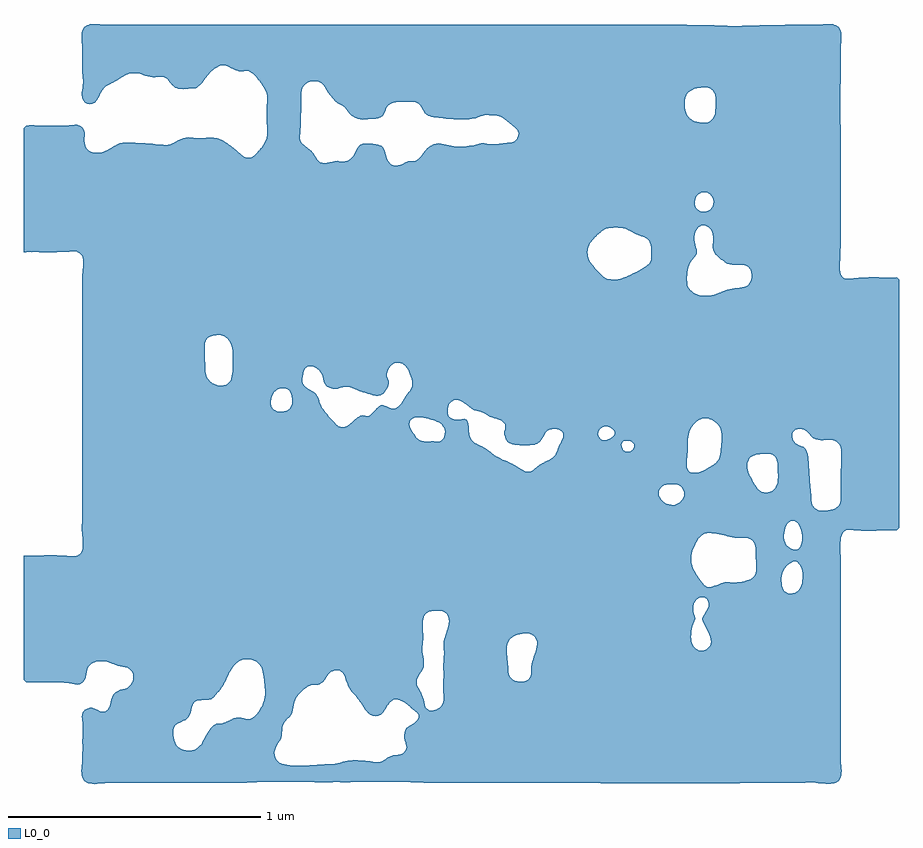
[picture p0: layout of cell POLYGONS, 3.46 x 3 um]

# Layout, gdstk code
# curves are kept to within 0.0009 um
import gdstk
lib = gdstk.Library(unit=1e-6, precision=1e-09)
def R(c, l, rs):  # rectangles x0, y0, x1, y1
    for r in rs: c.add(gdstk.rectangle(r[:2], r[2:], *l))
def P(c, l, *ps):  # polygons
    for p in ps: c.add(gdstk.Polygon(p, *l))
L0_0 = (0, 0)

polygons = lib.new_cell('POLYGONS')
R(polygons, L0_0, [(-0.38,-1.1,-0.218,-0.61), (0.31,-0.92,0.65,-0.61), (-1.4,-0.61,-1.1,-0.35), (-1.1,-0.61,-0.913,-0.35), (-0.913,-0.61,-0.737,-0.35), (-0.737,-0.61,-0.56,-0.35), (-0.56,-0.61,-0.38,-0.35), (-0.38,-0.61,-0.218,-0.35), (-0.218,-0.61,-0.08,-0.35), (-0.08,-0.61,0.11,-0.35), (0.11,-0.61,0.31,-0.35), (0.31,-0.61,0.65,-0.35), (-1.4,-0.35,-1.1,0.01), (-1.1,-0.35,-0.913,0.01), (-0.38,-0.35,-0.218,-0.08), (-1.499,0.01,-1.4,0.22), (-1.4,0.01,-1.1,0.22), (-1.4,0.22,-1.1,0.49), (-1.4,0.49,-1.1,0.6), (-1.1,0.49,-0.913,0.6), (-0.913,0.49,-0.737,0.6), (-0.737,0.49,-0.56,0.6), (-0.56,0.49,-0.38,0.6), (-0.38,0.49,-0.218,0.6), (-0.218,0.49,-0.08,0.6), (-0.08,0.49,0.11,0.6), (0.11,0.49,0.31,0.6), (-1.499,0.6,-1.4,0.8), (-1.4,0.6,-1.1,0.8), (-1.1,0.6,-0.913,0.8), (-0.913,0.6,-0.737,0.8), (-0.737,0.6,-0.56,0.8), (-0.56,0.6,-0.38,0.8), (-0.38,0.6,-0.218,0.8), (-0.218,0.6,-0.08,0.8), (-0.08,0.6,0.11,0.8), (0.11,0.6,0.31,0.8), (0.31,0.8,0.65,1.19)])
P(polygons, L0_0, [(-1.499,1.474),(-1.5,1.472),(-1.501,1.47),(-1.502,1.46),(-1.502,1.45),(-1.502,1.44),(-1.501,1.43),(-1.5,1.42),(-1.5,1.418),(-1.5,1.41),(-1.499,1.4),(-1.499,1.399)],
  [(-1.499,1.363),(-1.499,1.36),(-1.5,1.35),(-1.5,1.342),(-1.5,1.34),(-1.5,1.33),(-1.5,1.324),(-1.5,1.32),(-1.499,1.313)],
  [(-1.499,1.243),(-1.5,1.24),(-1.5,1.24),(-1.501,1.23),(-1.501,1.22),(-1.5,1.213),(-1.499,1.21)],
  [(-1.72,0.6),(-1.69,0.601),(-1.6,0.6),(-1.53,0.603),(-1.517,0.6),(-1.51,0.596),(-1.503,0.59),(-1.499,0.584),(-1.499,1.092),(-1.509,1.1),(-1.52,1.103),(-1.57,1.099),(-1.71,1.101),(-1.72,1.1),(-1.73,1.09),(-1.73,0.6)],
  [(-1.499,0.471),(-1.499,0.502),(-1.5,0.5),(-1.5,0.49),(-1.5,0.48)],
  [(-1.5,0.2),(-1.5,-0.03),(-1.499,-0.04),(-1.499,-0.054),(-1.499,0.261),(-1.499,0.23),(-1.5,0.22)],
  [(-1.499,-0.415),(-1.499,-0.42),(-1.5,-0.43),(-1.5,-0.47),(-1.501,-0.48),(-1.501,-0.5),(-1.5,-0.511),(-1.499,-0.518)],
  [(-1.72,-1.1),(-1.71,-1.101),(-1.6,-1.1),(-1.56,-1.102),(-1.53,-1.109),(-1.52,-1.11),(-1.51,-1.108),(-1.499,-1.102),(-1.499,-0.58),(-1.505,-0.59),(-1.51,-0.595),(-1.52,-0.6),(-1.53,-0.602),(-1.6,-0.599),(-1.73,-0.6),(-1.73,-1.09)],
  [(-1.499,-1.227),(-1.5,-1.229),(-1.5,-1.23),(-1.501,-1.24),(-1.5,-1.244),(-1.499,-1.249)],
  [(-1.499,-1.404),(-1.5,-1.41),(-1.5,-1.417),(-1.5,-1.42),(-1.501,-1.43),(-1.502,-1.44),(-1.503,-1.45),(-1.502,-1.46),(-1.501,-1.47),(-1.5,-1.474),(-1.499,-1.476)],
  [(-1.46,1.186),(-1.45,1.191),(-1.44,1.202),(-1.421,1.24),(-1.41,1.252),(-1.4,1.259),(-1.4,1.5),(-1.42,1.5),(-1.44,1.502),(-1.47,1.501),(-1.49,1.491),(-1.497,1.48),(-1.499,1.474),(-1.499,1.31),(-1.496,1.28),(-1.499,1.243),(-1.499,1.21),(-1.495,1.2),(-1.487,1.19),(-1.48,1.186),(-1.47,1.184)],
  [(-1.4,1.003),(-1.42,0.994),(-1.43,0.992),(-1.45,0.992),(-1.46,0.994),(-1.47,0.998),(-1.48,1.006),(-1.488,1.02),(-1.491,1.04),(-1.49,1.071),(-1.492,1.08),(-1.499,1.092),(-1.499,0.8),(-1.4,0.8)],
  [(-1.4,0.6),(-1.499,0.6),(-1.499,0.584),(-1.495,0.56),(-1.499,0.51),(-1.499,0.49),(-1.4,0.49)],
  [(-1.4,0.49),(-1.499,0.49),(-1.499,0.471),(-1.499,0.47),(-1.499,0.46),(-1.499,0.45),(-1.499,0.44),(-1.499,0.43),(-1.499,0.42),(-1.499,0.41),(-1.499,0.4),(-1.499,0.39),(-1.499,0.38),(-1.499,0.37),(-1.499,0.36),(-1.499,0.34),(-1.499,0.33),(-1.499,0.32),(-1.499,0.31),(-1.499,0.3),(-1.499,0.29),(-1.499,0.28),(-1.499,0.27),(-1.499,0.261),(-1.499,0.22),(-1.4,0.22)],
  [(-1.499,-0.38),(-1.499,-0.52),(-1.497,-0.55),(-1.497,-0.57),(-1.499,-0.58),(-1.499,-0.61),(-1.4,-0.61),(-1.4,0.01),(-1.499,0.01)],
  [(-1.497,-1.1),(-1.49,-1.09),(-1.486,-1.08),(-1.483,-1.07),(-1.48,-1.05),(-1.47,-1.033),(-1.46,-1.026),(-1.45,-1.021),(-1.44,-1.018),(-1.42,-1.017),(-1.4,-1.02),(-1.4,-0.61),(-1.499,-0.61),(-1.499,-1.102)],
  [(-1.498,-1.32),(-1.499,-1.33),(-1.498,-1.35),(-1.499,-1.476),(-1.498,-1.48),(-1.49,-1.492),(-1.48,-1.498),(-1.47,-1.501),(-1.45,-1.503),(-1.4,-1.499),(-1.4,-1.212),(-1.41,-1.217),(-1.42,-1.218),(-1.43,-1.215),(-1.45,-1.205),(-1.46,-1.202),(-1.47,-1.202),(-1.48,-1.205),(-1.49,-1.211),(-1.497,-1.22),(-1.499,-1.227),(-1.499,-1.25),(-1.497,-1.27)],
  [(-1.39,1.264),(-1.33,1.3),(-1.31,1.307),(-1.29,1.308),(-1.27,1.305),(-1.26,1.301),(-1.23,1.293),(-1.22,1.292),(-1.18,1.293),(-1.17,1.29),(-1.159,1.28),(-1.143,1.26),(-1.131,1.25),(-1.12,1.246),(-1.1,1.244),(-1.1,1.499),(-1.21,1.499),(-1.22,1.5),(-1.39,1.499),(-1.4,1.5),(-1.4,1.259)],
  [(-1.1,1.05),(-1.11,1.047),(-1.142,1.03),(-1.16,1.024),(-1.17,1.023),(-1.19,1.024),(-1.23,1.029),(-1.27,1.03),(-1.3,1.033),(-1.34,1.033),(-1.35,1.031),(-1.36,1.027),(-1.4,1.003),(-1.4,0.8),(-1.1,0.8)],
  [(-1.14,-1.294),(-1.137,-1.28),(-1.131,-1.27),(-1.12,-1.262),(-1.1,-1.253),(-1.1,-0.61),(-1.4,-0.61),(-1.4,-1.02),(-1.36,-1.035),(-1.32,-1.044),(-1.311,-1.05),(-1.302,-1.06),(-1.298,-1.07),(-1.297,-1.08),(-1.298,-1.09),(-1.301,-1.1),(-1.31,-1.113),(-1.32,-1.122),(-1.33,-1.126),(-1.35,-1.131),(-1.367,-1.14),(-1.376,-1.15),(-1.381,-1.16),(-1.388,-1.19),(-1.392,-1.2),(-1.4,-1.212),(-1.4,-1.3),(-1.14,-1.3)],
  [(-1.1,-1.368),(-1.116,-1.36),(-1.127,-1.35),(-1.136,-1.33),(-1.14,-1.31),(-1.14,-1.3),(-1.4,-1.3),(-1.4,-1.38),(-1.1,-1.38)],
  [(-1.39,-1.499),(-1.38,-1.498),(-1.1,-1.499),(-1.1,-1.38),(-1.4,-1.38),(-1.4,-1.499)],
  [(-1.09,1.245),(-1.05,1.248),(-1.047,1.25),(-1.03,1.265),(-1.012,1.29),(-0.995,1.31),(-0.971,1.33),(-0.95,1.338),(-0.94,1.338),(-0.93,1.336),(-0.913,1.33),(-0.913,1.499),(-1.1,1.499),(-1.1,1.244)],
  [(-0.913,1.02),(-0.95,1.045),(-0.96,1.049),(-0.97,1.051),(-0.99,1.053),(-1.02,1.051),(-1.05,1.051),(-1.08,1.054),(-1.1,1.05),(-1.1,0.8),(-0.913,0.8)],
  [(-1.016,0.23),(-1.015,0.24),(-1.012,0.25),(-1.005,0.26),(-1,0.264),(-0.98,0.271),(-0.96,0.273),(-0.95,0.272),(-0.94,0.269),(-0.927,0.26),(-0.92,0.252),(-0.913,0.24),(-0.913,0.49),(-1.1,0.49),(-1.1,0.22),(-1.016,0.22)],
  [(-0.924,0.08),(-0.93,0.076),(-0.94,0.073),(-0.95,0.071),(-0.96,0.072),(-0.983,0.08),(-0.996,0.09),(-1.004,0.1),(-1.009,0.11),(-1.013,0.13),(-1.016,0.22),(-1.1,0.22),(-1.1,0.01),(-0.913,0.01),(-0.913,0.091)],
  [(-1.093,-1.25),(-1.08,-1.24),(-1.074,-1.23),(-1.07,-1.22),(-1.066,-1.2),(-1.06,-1.185),(-1.056,-1.18),(-1.04,-1.172),(-1.01,-1.17),(-0.99,-1.167),(-0.98,-1.16),(-0.95,-1.125),(-0.941,-1.11),(-0.913,-1.055),(-0.913,-0.61),(-1.1,-0.61),(-1.1,-1.253)],
  [(-0.913,-1.249),(-0.94,-1.261),(-0.95,-1.264),(-0.97,-1.265),(-0.98,-1.271),(-0.997,-1.29),(-1.016,-1.32),(-1.03,-1.347),(-1.042,-1.36),(-1.06,-1.369),(-1.07,-1.371),(-1.091,-1.37),(-1.1,-1.368),(-1.1,-1.38),(-0.913,-1.38)],
  [(-1.09,-1.499),(-0.913,-1.498),(-0.913,-1.38),(-1.1,-1.38),(-1.1,-1.499)],
  [(-0.779,1.03),(-0.79,1.013),(-0.81,0.99),(-0.83,0.976),(-0.84,0.973),(-0.85,0.973),(-0.86,0.978),(-0.913,1.02),(-0.913,0.8),(-0.737,0.8),(-0.737,1.499),(-0.913,1.499),(-0.913,1.33),(-0.9,1.323),(-0.88,1.316),(-0.87,1.315),(-0.85,1.317),(-0.84,1.315),(-0.831,1.31),(-0.82,1.302),(-0.81,1.292),(-0.8,1.279),(-0.78,1.25),(-0.771,1.23),(-0.769,1.22),(-0.771,1.14),(-0.768,1.08),(-0.769,1.06),(-0.771,1.05),(-0.774,1.04)],
  [(-0.737,0.49),(-0.913,0.49),(-0.913,0.24),(-0.909,0.23),(-0.905,0.21),(-0.904,0.19),(-0.905,0.13),(-0.91,0.099),(-0.913,0.09),(-0.737,0.09)],
  [(-0.753,0.02),(-0.75,0.029),(-0.75,0.03),(-0.745,0.04),(-0.74,0.047),(-0.737,0.05),(-0.737,0.09),(-0.913,0.09),(-0.913,0.01),(-0.754,0.01)],
  [(-0.737,-0.026),(-0.74,-0.025),(-0.746,-0.02),(-0.75,-0.014),(-0.752,-0.01),(-0.754,0),(-0.754,0.01),(-0.913,0.01),(-0.913,-0.35),(-0.737,-0.35)],
  [(-0.739,-1.37),(-0.737,-1.367),(-0.737,-0.61),(-0.913,-0.61),(-0.913,-1.055),(-0.911,-1.05),(-0.895,-1.03),(-0.883,-1.02),(-0.87,-1.013),(-0.86,-1.01),(-0.84,-1.01),(-0.82,-1.015),(-0.81,-1.02),(-0.799,-1.03),(-0.787,-1.05),(-0.777,-1.11),(-0.776,-1.13),(-0.776,-1.15),(-0.78,-1.171),(-0.786,-1.19),(-0.8,-1.215),(-0.81,-1.228),(-0.82,-1.237),(-0.83,-1.243),(-0.84,-1.246),(-0.85,-1.246),(-0.87,-1.241),(-0.88,-1.241),(-0.9,-1.244),(-0.913,-1.249),(-0.913,-1.38),(-0.74,-1.38)],
  [(-0.91,-1.498),(-0.85,-1.498),(-0.78,-1.494),(-0.737,-1.494),(-0.737,-1.397),(-0.74,-1.38),(-0.913,-1.38),(-0.913,-1.498)],
  [(-0.639,1.06),(-0.637,1.07),(-0.633,1.17),(-0.634,1.21),(-0.633,1.23),(-0.632,1.24),(-0.629,1.25),(-0.62,1.262),(-0.609,1.27),(-0.6,1.273),(-0.59,1.276),(-0.58,1.276),(-0.57,1.275),(-0.56,1.272),(-0.56,1.499),(-0.737,1.499),(-0.737,1.05),(-0.64,1.05)],
  [(-0.56,0.956),(-0.57,0.965),(-0.59,0.995),(-0.6,1.005),(-0.631,1.03),(-0.637,1.04),(-0.64,1.05),(-0.737,1.05),(-0.737,0.8),(-0.56,0.8)],
  [(-0.629,0.1),(-0.628,0.11),(-0.623,0.13),(-0.617,0.14),(-0.61,0.146),(-0.6,0.149),(-0.59,0.149),(-0.57,0.139),(-0.56,0.129),(-0.56,0.49),(-0.737,0.49),(-0.737,0.09),(-0.629,0.09)],
  [(-0.72,0.06),(-0.71,0.062),(-0.7,0.062),(-0.69,0.059),(-0.679,0.05),(-0.674,0.04),(-0.671,0.03),(-0.67,0),(-0.673,-0.01),(-0.68,-0.02),(-0.69,-0.027),(-0.71,-0.032),(-0.72,-0.032),(-0.73,-0.03),(-0.737,-0.026),(-0.737,-0.35),(-0.56,-0.35),(-0.56,0.003),(-0.565,0.02),(-0.57,0.03),(-0.58,0.043),(-0.608,0.06),(-0.62,0.07),(-0.627,0.08),(-0.629,0.09),(-0.737,0.09),(-0.737,0.05),(-0.73,0.056)],
  [(-0.735,-1.36),(-0.731,-1.35),(-0.717,-1.33),(-0.712,-1.32),(-0.706,-1.27),(-0.701,-1.26),(-0.693,-1.25),(-0.68,-1.238),(-0.674,-1.23),(-0.669,-1.22),(-0.66,-1.176),(-0.653,-1.16),(-0.646,-1.15),(-0.63,-1.134),(-0.61,-1.119),(-0.6,-1.114),(-0.59,-1.111),(-0.58,-1.11),(-0.57,-1.111),(-0.56,-1.108),(-0.56,-0.61),(-0.737,-0.61),(-0.737,-1.367)],
  [(-0.56,-1.426),(-0.63,-1.431),(-0.66,-1.431),(-0.68,-1.429),(-0.7,-1.425),(-0.72,-1.418),(-0.73,-1.41),(-0.737,-1.4),(-0.737,-1.397),(-0.737,-1.494),(-0.7,-1.495),(-0.62,-1.494),(-0.56,-1.496)],
  [(-0.38,1.125),(-0.38,1.5),(-0.56,1.499),(-0.56,1.272),(-0.545,1.26),(-0.519,1.22),(-0.5,1.196),(-0.49,1.188),(-0.47,1.179),(-0.46,1.17),(-0.444,1.15),(-0.433,1.14),(-0.42,1.132),(-0.4,1.125),(-0.39,1.124)],
  [(-0.38,1.029),(-0.39,1.029),(-0.4,1.024),(-0.412,1.01),(-0.43,0.978),(-0.44,0.967),(-0.45,0.962),(-0.455,0.96),(-0.47,0.958),(-0.49,0.961),(-0.502,0.96),(-0.54,0.952),(-0.55,0.953),(-0.56,0.956),(-0.56,0.8),(-0.38,0.8)],
  [(-0.38,0.49),(-0.56,0.49),(-0.56,0.129),(-0.553,0.12),(-0.548,0.11),(-0.541,0.08),(-0.53,0.067),(-0.52,0.063),(-0.51,0.06),(-0.5,0.059),(-0.49,0.06),(-0.46,0.068),(-0.44,0.066),(-0.39,0.045),(-0.38,0.043)],
  [(-0.457,-0.09),(-0.47,-0.093),(-0.48,-0.091),(-0.49,-0.086),(-0.497,-0.08),(-0.541,-0.03),(-0.55,-0.017),(-0.56,0.003),(-0.56,-0.35),(-0.38,-0.35),(-0.38,-0.047),(-0.39,-0.045),(-0.4,-0.047),(-0.419,-0.06),(-0.45,-0.087)],
  [(-0.45,-1.11),(-0.439,-1.13),(-0.41,-1.165),(-0.38,-1.209),(-0.38,-0.61),(-0.56,-0.61),(-0.56,-1.108),(-0.548,-1.1),(-0.527,-1.07),(-0.52,-1.063),(-0.5,-1.053),(-0.49,-1.053),(-0.48,-1.056),(-0.47,-1.064),(-0.465,-1.07),(-0.46,-1.08)],
  [(-0.45,-1.496),(-0.38,-1.495),(-0.38,-1.412),(-0.43,-1.41),(-0.46,-1.413),(-0.49,-1.421),(-0.51,-1.424),(-0.56,-1.426),(-0.56,-1.496),(-0.5,-1.495)],
  [(-0.37,1.126),(-0.35,1.127),(-0.33,1.13),(-0.32,1.134),(-0.311,1.14),(-0.305,1.15),(-0.297,1.17),(-0.29,1.18),(-0.28,1.187),(-0.27,1.191),(-0.26,1.193),(-0.23,1.195),(-0.218,1.194),(-0.218,1.499),(-0.38,1.5),(-0.38,1.125)],
  [(-0.218,0.956),(-0.23,0.95),(-0.25,0.943),(-0.26,0.941),(-0.27,0.943),(-0.28,0.948),(-0.29,0.96),(-0.295,0.97),(-0.304,1),(-0.31,1.012),(-0.318,1.02),(-0.33,1.025),(-0.34,1.027),(-0.38,1.029),(-0.38,0.8),(-0.218,0.8)],
  [(-0.32,0.034),(-0.31,0.041),(-0.302,0.05),(-0.29,0.07),(-0.288,0.08),(-0.288,0.09),(-0.295,0.11),(-0.295,0.12),(-0.288,0.14),(-0.28,0.15),(-0.266,0.16),(-0.25,0.163),(-0.24,0.161),(-0.23,0.157),(-0.218,0.145),(-0.218,0.49),(-0.38,0.49),(-0.38,0.043),(-0.34,0.033),(-0.33,0.032)],
  [(-0.355,-0.04),(-0.36,-0.044),(-0.37,-0.048),(-0.38,-0.047),(-0.38,-0.08),(-0.218,-0.08),(-0.218,0.034),(-0.24,-0.002),(-0.25,-0.012),(-0.26,-0.017),(-0.27,-0.019),(-0.28,-0.017),(-0.31,-0.006),(-0.32,-0.006),(-0.33,-0.013)],
  [(-0.33,-1.234),(-0.321,-1.23),(-0.31,-1.22),(-0.3,-1.206),(-0.291,-1.19),(-0.28,-1.177),(-0.27,-1.17),(-0.26,-1.168),(-0.25,-1.169),(-0.23,-1.178),(-0.218,-1.186),(-0.218,-1.1),(-0.38,-1.1),(-0.38,-1.21),(-0.37,-1.222),(-0.358,-1.23),(-0.34,-1.235)],
  [(-0.218,-1.283),(-0.22,-1.286),(-0.222,-1.29),(-0.225,-1.3),(-0.226,-1.31),(-0.226,-1.32),(-0.224,-1.33),(-0.221,-1.34),(-0.22,-1.343),(-0.218,-1.35)],
  [(-0.36,-1.494),(-0.23,-1.494),(-0.218,-1.495),(-0.218,-1.362),(-0.22,-1.37),(-0.23,-1.381),(-0.24,-1.385),(-0.27,-1.39),(-0.28,-1.393),(-0.29,-1.398),(-0.31,-1.412),(-0.32,-1.416),(-0.34,-1.417),(-0.38,-1.412),(-0.38,-1.495)],
  [(-0.164,1.18),(-0.145,1.15),(-0.132,1.14),(-0.12,1.135),(-0.11,1.133),(-0.08,1.131),(-0.08,1.5),(-0.218,1.499),(-0.218,1.194),(-0.19,1.195),(-0.18,1.193)],
  [(-0.08,1.029),(-0.09,1.03),(-0.1,1.029),(-0.11,1.026),(-0.12,1.021),(-0.135,1.01),(-0.16,0.979),(-0.17,0.969),(-0.18,0.962),(-0.19,0.96),(-0.21,0.959),(-0.218,0.956),(-0.218,0.8),(-0.08,0.8)],
  [(-0.08,0.49),(-0.218,0.49),(-0.218,0.145),(-0.208,0.13),(-0.2,0.11),(-0.194,0.09),(-0.195,0.07),(-0.199,0.06),(-0.205,0.05),(-0.218,0.034),(-0.218,-0.03),(-0.08,-0.03)],
  [(-0.204,-0.07),(-0.2,-0.063),(-0.19,-0.056),(-0.18,-0.053),(-0.16,-0.052),(-0.14,-0.056),(-0.11,-0.065),(-0.09,-0.073),(-0.08,-0.079),(-0.08,-0.03),(-0.218,-0.03),(-0.218,-0.08),(-0.206,-0.08)],
  [(-0.08,-0.146),(-0.09,-0.149),(-0.11,-0.148),(-0.14,-0.149),(-0.16,-0.146),(-0.17,-0.141),(-0.181,-0.13),(-0.2,-0.1),(-0.205,-0.09),(-0.206,-0.08),(-0.218,-0.08),(-0.218,-0.35),(-0.08,-0.35)],
  [(-0.176,-1.09),(-0.173,-1.08),(-0.168,-1.07),(-0.16,-1.06),(-0.15,-1.04),(-0.149,-1.02),(-0.155,-0.98),(-0.155,-0.96),(-0.152,-0.93),(-0.153,-0.86),(-0.152,-0.85),(-0.149,-0.84),(-0.14,-0.828),(-0.125,-0.82),(-0.11,-0.817),(-0.08,-0.818),(-0.08,-0.61),(-0.218,-0.61),(-0.218,-1.1),(-0.177,-1.1)],
  [(-0.08,-1.195),(-0.09,-1.204),(-0.1,-1.21),(-0.12,-1.213),(-0.132,-1.21),(-0.14,-1.204),(-0.143,-1.2),(-0.153,-1.16),(-0.16,-1.143),(-0.173,-1.12),(-0.176,-1.11),(-0.177,-1.1),(-0.218,-1.1),(-0.218,-1.186),(-0.19,-1.21),(-0.176,-1.22),(-0.169,-1.23),(-0.17,-1.241),(-0.174,-1.25),(-0.18,-1.257),(-0.19,-1.265),(-0.201,-1.27),(-0.216,-1.28),(-0.218,-1.283),(-0.217,-1.36),(-0.218,-1.362),(-0.218,-1.495),(-0.15,-1.498),(-0.08,-1.499)],
  [(0.11,1.5),(0.1,1.5),(0.09,1.5),(0.08,1.5),(0.07,1.5),(0.06,1.5),(0.05,1.5),(0.03,1.5),(0.02,1.5),(0.01,1.5),(0,1.5),(-0.01,1.5),(-0.02,1.5),(-0.03,1.5),(-0.04,1.5),(-0.05,1.5),(-0.06,1.5),(-0.07,1.5),(-0.08,1.5),(-0.08,1.19),(0.11,1.19)],
  [(0.02,1.126),(0.04,1.127),(0.056,1.13),(0.09,1.142),(0.1,1.143),(0.11,1.142),(0.11,1.19),(-0.08,1.19),(-0.08,1.131),(-0.05,1.127),(0,1.125)],
  [(0.11,1.027),(0.09,1.031),(0.08,1.031),(0.05,1.023),(0.02,1.018),(-0.02,1.017),(-0.041,1.02),(-0.08,1.029),(-0.08,0.8),(0.11,0.8)],
  [(0.11,0.49),(-0.08,0.49),(-0.08,-0.03),(-0.055,-0.03),(-0.055,-0.02),(-0.053,-0.01),(-0.048,0),(-0.037,0.01),(-0.03,0.014),(-0.02,0.016),(-0.01,0.015),(0,0.01),(0.029,-0.01),(0.041,-0.02),(0.05,-0.025),(0.07,-0.03),(0.09,-0.038),(0.11,-0.049)],
  [(0.11,-0.188),(0.085,-0.17),(0.05,-0.153),(0.04,-0.143),(0.033,-0.13),(0.029,-0.11),(0.027,-0.08),(0.024,-0.07),(0.02,-0.063),(0.01,-0.059),(-0.01,-0.062),(-0.03,-0.061),(-0.04,-0.057),(-0.05,-0.05),(-0.054,-0.04),(-0.055,-0.03),(-0.08,-0.03),(-0.08,-0.079),(-0.07,-0.093),(-0.067,-0.1),(-0.065,-0.11),(-0.066,-0.12),(-0.07,-0.135),(-0.08,-0.146),(-0.08,-0.35),(0.11,-0.35)],
  [(-0.069,-0.99),(-0.072,-1.03),(-0.071,-1.08),(-0.073,-1.11),(-0.073,-1.13),(-0.07,-1.17),(-0.072,-1.18),(-0.08,-1.195),(-0.08,-1.499),(0.11,-1.499),(0.11,-0.61),(-0.08,-0.61),(-0.08,-0.818),(-0.06,-0.828),(-0.053,-0.84),(-0.05,-0.85),(-0.049,-0.86),(-0.052,-0.88),(-0.07,-0.939),(-0.071,-0.95)],
  [(0.31,1.5),(0.3,1.5),(0.29,1.5),(0.28,1.5),(0.27,1.5),(0.26,1.5),(0.25,1.5),(0.24,1.5),(0.23,1.5),(0.22,1.5),(0.21,1.5),(0.2,1.5),(0.19,1.5),(0.18,1.5),(0.17,1.5),(0.166,1.5),(0.16,1.5),(0.14,1.5),(0.13,1.5),(0.12,1.5),(0.11,1.5),(0.11,1.19),(0.31,1.19)],
  [(0.31,1.19),(0.11,1.19),(0.11,1.142),(0.141,1.14),(0.16,1.134),(0.215,1.09),(0.223,1.08),(0.226,1.07),(0.225,1.06),(0.221,1.05),(0.212,1.04),(0.2,1.035),(0.13,1.026),(0.11,1.027),(0.11,0.8),(0.31,0.8)],
  [(0.26,-0.164),(0.29,-0.161),(0.3,-0.157),(0.31,-0.149),(0.31,0.49),(0.11,0.49),(0.11,-0.049),(0.15,-0.062),(0.16,-0.067),(0.17,-0.077),(0.172,-0.08),(0.173,-0.09),(0.17,-0.11),(0.17,-0.12),(0.175,-0.14),(0.181,-0.15),(0.19,-0.156),(0.2,-0.16),(0.24,-0.164)],
  [(0.31,-0.241),(0.28,-0.264),(0.27,-0.268),(0.26,-0.269),(0.25,-0.266),(0.238,-0.26),(0.2,-0.236),(0.162,-0.22),(0.14,-0.209),(0.11,-0.188),(0.11,-0.35),(0.31,-0.35)],
  [(0.295,-0.93),(0.299,-0.94),(0.3,-0.95),(0.296,-0.97),(0.28,-1.02),(0.276,-1.04),(0.275,-1.07),(0.27,-1.083),(0.26,-1.092),(0.25,-1.096),(0.24,-1.098),(0.23,-1.098),(0.22,-1.097),(0.21,-1.094),(0.2,-1.088),(0.19,-1.077),(0.187,-1.07),(0.185,-1.06),(0.178,-0.97),(0.11,-0.97),(0.11,-1.499),(0.31,-1.499),(0.31,-0.61),(0.11,-0.61),(0.11,-0.97),(0.178,-0.97),(0.18,-0.95),(0.19,-0.93),(0.203,-0.92),(0.23,-0.91),(0.25,-0.907),(0.27,-0.908),(0.28,-0.912),(0.29,-0.921)],
  [(0.65,1.499),(0.31,1.5),(0.31,1.19),(0.65,1.19)],
  [(0.499,0.61),(0.506,0.63),(0.512,0.64),(0.54,0.671),(0.56,0.687),(0.57,0.692),(0.58,0.695),(0.61,0.698),(0.63,0.696),(0.65,0.692),(0.65,0.8),(0.31,0.8),(0.31,0.6),(0.498,0.6)],
  [(0.65,0.501),(0.63,0.495),(0.61,0.491),(0.6,0.491),(0.58,0.493),(0.56,0.503),(0.53,0.533),(0.51,0.559),(0.504,0.57),(0.501,0.58),(0.498,0.6),(0.31,0.6),(0.31,0.49),(0.65,0.49)],
  [(0.65,-0.92),(0.31,-0.92),(0.31,-1.499),(0.65,-1.5)],
  [(0.38,-0.18),(0.372,-0.2),(0.364,-0.21),(0.349,-0.22),(0.33,-0.229),(0.31,-0.241),(0.31,-0.35),(0.65,-0.35),(0.65,-0.189),(0.637,-0.18),(0.633,-0.17),(0.632,-0.16),(0.637,-0.15),(0.65,-0.145),(0.65,0.49),(0.31,0.49),(0.31,-0.149),(0.336,-0.11),(0.34,-0.106),(0.35,-0.101),(0.36,-0.099),(0.38,-0.1),(0.39,-0.104),(0.398,-0.11),(0.403,-0.12),(0.539,-0.12),(0.54,-0.11),(0.547,-0.1),(0.56,-0.091),(0.57,-0.088),(0.58,-0.09),(0.598,-0.1),(0.605,-0.11),(0.606,-0.12),(0.599,-0.13),(0.581,-0.14),(0.57,-0.144),(0.56,-0.144),(0.55,-0.14),(0.542,-0.13),(0.539,-0.12),(0.403,-0.12),(0.402,-0.13),(0.399,-0.14)],
  [(0.883,1.2),(0.884,1.21),(0.89,1.224),(0.894,1.23),(0.908,1.24),(0.908,1.498),(0.89,1.499),(0.65,1.499),(0.65,1.19),(0.882,1.19)],
  [(0.908,1.125),(0.9,1.131),(0.89,1.145),(0.883,1.17),(0.882,1.19),(0.65,1.19),(0.65,0.8),(0.908,0.8)],
  [(0.891,0.5),(0.894,0.53),(0.9,0.549),(0.908,0.564),(0.908,0.8),(0.65,0.8),(0.65,0.692),(0.69,0.67),(0.72,0.66),(0.73,0.655),(0.74,0.647),(0.745,0.64),(0.75,0.62),(0.751,0.58),(0.75,0.569),(0.746,0.56),(0.737,0.55),(0.7,0.526),(0.65,0.501),(0.65,0.49),(0.891,0.49)],
  [(0.891,-0.23),(0.894,-0.19),(0.896,-0.13),(0.9,-0.113),(0.908,-0.094),(0.908,0.447),(0.904,0.45),(0.897,0.46),(0.893,0.47),(0.891,0.49),(0.65,0.49),(0.65,-0.145),(0.66,-0.145),(0.674,-0.15),(0.683,-0.16),(0.684,-0.17),(0.68,-0.179),(0.67,-0.187),(0.661,-0.19),(0.65,-0.189),(0.65,-0.24),(0.891,-0.24)],
  [(0.908,-0.272),(0.9,-0.268),(0.894,-0.26),(0.891,-0.25),(0.891,-0.24),(0.65,-0.24),(0.65,-0.35),(0.78,-0.35),(0.782,-0.34),(0.789,-0.33),(0.8,-0.322),(0.82,-0.317),(0.84,-0.317),(0.85,-0.318),(0.86,-0.322),(0.87,-0.329),(0.877,-0.34),(0.88,-0.35),(0.881,-0.36),(0.879,-0.37),(0.872,-0.38),(0.862,-0.39),(0.85,-0.397),(0.84,-0.4),(0.83,-0.399),(0.81,-0.394),(0.79,-0.38),(0.783,-0.37),(0.78,-0.361),(0.78,-0.35),(0.65,-0.35),(0.65,-0.61),(0.908,-0.61)],
  [(0.908,-0.91),(0.908,-0.907),(0.908,-0.61),(0.65,-0.61),(0.65,-0.92),(0.907,-0.92)],
  [(0.908,-0.93),(0.907,-0.92),(0.65,-0.92),(0.65,-1.5),(0.908,-1.5)],
  [(0.91,1.241),(0.92,1.245),(0.95,1.251),(0.96,1.252),(0.98,1.249),(0.98,1.497),(0.908,1.498),(0.908,1.24)],
  [(0.924,0.81),(0.93,0.822),(0.938,0.83),(0.95,0.836),(0.96,0.837),(0.97,0.836),(0.98,0.831),(0.98,1.116),(0.97,1.112),(0.95,1.111),(0.92,1.118),(0.908,1.125),(0.908,0.8),(0.922,0.8)],
  [(0.91,0.567),(0.929,0.59),(0.931,0.6),(0.93,0.61),(0.924,0.63),(0.921,0.65),(0.922,0.67),(0.925,0.68),(0.93,0.69),(0.94,0.701),(0.95,0.707),(0.96,0.707),(0.97,0.703),(0.98,0.696),(0.98,0.766),(0.97,0.761),(0.96,0.759),(0.949,0.76),(0.94,0.764),(0.93,0.772),(0.925,0.78),(0.922,0.79),(0.922,0.8),(0.908,0.8),(0.908,0.564)],
  [(0.91,-0.091),(0.918,-0.08),(0.928,-0.07),(0.94,-0.062),(0.95,-0.058),(0.96,-0.057),(0.97,-0.057),(0.98,-0.059),(0.98,0.427),(0.96,0.427),(0.939,0.43),(0.916,0.44),(0.908,0.447),(0.908,-0.094)],
  [(0.909,-0.6),(0.91,-0.59),(0.917,-0.57),(0.939,-0.53),(0.95,-0.519),(0.96,-0.513),(0.98,-0.51),(0.98,-0.251),(0.95,-0.267),(0.941,-0.27),(0.93,-0.273),(0.908,-0.272),(0.908,-0.61)],
  [(0.98,-0.726),(0.97,-0.724),(0.96,-0.718),(0.95,-0.706),(0.93,-0.677),(0.915,-0.65),(0.909,-0.63),(0.908,-0.61),(0.908,-0.907),(0.91,-0.89),(0.916,-0.87),(0.924,-0.85),(0.923,-0.84),(0.919,-0.83),(0.917,-0.82),(0.916,-0.8),(0.918,-0.79),(0.93,-0.773),(0.94,-0.767),(0.95,-0.764),(0.96,-0.764),(0.97,-0.77),(0.976,-0.78),(0.978,-0.79),(0.977,-0.8),(0.973,-0.81),(0.955,-0.84),(0.952,-0.85),(0.954,-0.86),(0.98,-0.912)],
  [(0.95,-1.5),(0.98,-1.5),(0.98,-0.961),(0.97,-0.97),(0.96,-0.975),(0.95,-0.977),(0.94,-0.976),(0.93,-0.971),(0.918,-0.96),(0.909,-0.94),(0.908,-0.93),(0.908,-1.5)],
  [(1.138,1.495),(1.06,1.494),(0.98,1.497),(0.98,1.249),(0.994,1.24),(1.001,1.23),(1.004,1.22),(1.006,1.2),(1.005,1.17),(1.001,1.14),(0.99,1.123),(0.98,1.116),(0.98,0.831),(0.99,0.82),(0.995,0.81),(0.997,0.8),(0.996,0.79),(0.993,0.78),(0.985,0.77),(0.98,0.766),(0.98,0.696),(0.99,0.682),(0.994,0.67),(0.995,0.61),(0.999,0.6),(1.006,0.59),(1.028,0.57),(1.041,0.56),(1.05,0.555),(1.06,0.552),(1.08,0.55),(1.11,0.55),(1.12,0.548),(1.13,0.544),(1.138,0.537)],
  [(1.029,-0.14),(1.029,-0.15),(1.022,-0.21),(1.017,-0.22),(1.009,-0.23),(1,-0.238),(0.98,-0.251),(0.98,-0.51),(1,-0.512),(1.04,-0.52),(1.07,-0.528),(1.1,-0.53),(1.11,-0.529),(1.13,-0.53),(1.138,-0.533),(1.138,-0.28),(1.134,-0.27),(1.129,-0.25),(1.129,-0.24),(1.131,-0.23),(1.138,-0.216),(1.138,0.476),(1.133,0.47),(1.12,0.464),(1.106,0.46),(1.07,0.456),(1.05,0.452),(1.01,0.435),(0.98,0.427),(0.98,-0.059),(1.002,-0.07),(1.014,-0.08),(1.02,-0.088),(1.028,-0.11)],
  [(1.11,-0.703),(1.08,-0.707),(1.05,-0.705),(1.04,-0.706),(0.99,-0.724),(0.98,-0.726),(0.98,-0.912),(0.986,-0.93),(0.987,-0.94),(0.985,-0.95),(0.98,-0.961),(0.98,-1.5),(1.138,-1.499),(1.138,-0.695),(1.124,-0.7)],
  [(1.31,-0.111),(1.32,-0.103),(1.327,-0.1),(1.34,-0.099),(1.34,1.499),(1.21,1.498),(1.14,1.496),(1.138,1.495),(1.138,0.537),(1.143,0.53),(1.146,0.52),(1.147,0.5),(1.145,0.49),(1.138,0.476),(1.138,-0.12),(1.307,-0.12)],
  [(1.276,-0.51),(1.28,-0.49),(1.285,-0.48),(1.29,-0.472),(1.3,-0.465),(1.31,-0.463),(1.32,-0.465),(1.33,-0.471),(1.34,-0.491),(1.34,-0.166),(1.33,-0.162),(1.32,-0.155),(1.316,-0.15),(1.31,-0.141),(1.307,-0.13),(1.307,-0.12),(1.138,-0.12),(1.138,-0.216),(1.15,-0.207),(1.17,-0.2),(1.19,-0.197),(1.21,-0.197),(1.22,-0.198),(1.23,-0.202),(1.24,-0.21),(1.246,-0.22),(1.249,-0.23),(1.251,-0.24),(1.252,-0.28),(1.25,-0.311),(1.243,-0.33),(1.23,-0.343),(1.22,-0.348),(1.21,-0.351),(1.2,-0.351),(1.19,-0.349),(1.18,-0.344),(1.17,-0.335),(1.154,-0.31),(1.138,-0.28),(1.138,-0.52),(1.275,-0.52)],
  [(1.265,-0.69),(1.268,-0.67),(1.272,-0.66),(1.278,-0.65),(1.287,-0.64),(1.3,-0.63),(1.31,-0.625),(1.32,-0.623),(1.33,-0.627),(1.34,-0.639),(1.34,-0.564),(1.33,-0.574),(1.32,-0.577),(1.31,-0.575),(1.3,-0.571),(1.287,-0.56),(1.28,-0.548),(1.275,-0.53),(1.275,-0.52),(1.138,-0.52),(1.138,-0.533),(1.14,-0.533),(1.15,-0.54),(1.158,-0.55),(1.162,-0.56),(1.164,-0.57),(1.164,-0.61),(1.166,-0.64),(1.164,-0.67),(1.159,-0.68),(1.149,-0.69),(1.138,-0.695),(1.138,-0.7),(1.265,-0.7)],
  [(1.14,-1.499),(1.34,-1.499),(1.34,-0.728),(1.33,-0.74),(1.32,-0.746),(1.31,-0.749),(1.3,-0.75),(1.29,-0.748),(1.277,-0.74),(1.27,-0.73),(1.267,-0.72),(1.265,-0.7),(1.138,-0.7),(1.138,-1.499)],
  [(1.499,0.512),(1.496,0.53),(1.496,0.56),(1.499,0.62),(1.499,1.1),(1.498,1.11),(1.499,1.475),(1.498,1.48),(1.49,1.491),(1.48,1.498),(1.47,1.501),(1.44,1.502),(1.4,1.499),(1.34,1.499),(1.34,-0.099),(1.35,-0.1),(1.36,-0.105),(1.37,-0.113),(1.384,-0.13),(1.39,-0.135),(1.402,-0.14),(1.42,-0.143),(1.45,-0.141),(1.46,-0.141),(1.47,-0.143),(1.484,-0.15),(1.49,-0.155),(1.494,-0.16),(1.499,-0.17),(1.499,-0.173)],
  [(1.36,-1.499),(1.4,-1.499),(1.44,-1.502),(1.47,-1.501),(1.48,-1.498),(1.49,-1.492),(1.498,-1.48),(1.499,-1.476),(1.499,-0.6),(1.497,-0.57),(1.499,-0.54),(1.499,-0.371),(1.498,-0.39),(1.493,-0.4),(1.49,-0.404),(1.48,-0.412),(1.47,-0.416),(1.45,-0.421),(1.43,-0.423),(1.42,-0.422),(1.41,-0.42),(1.4,-0.415),(1.39,-0.405),(1.387,-0.4),(1.384,-0.39),(1.383,-0.38),(1.376,-0.3),(1.373,-0.23),(1.37,-0.203),(1.366,-0.19),(1.36,-0.177),(1.351,-0.17),(1.34,-0.166),(1.34,-0.491),(1.347,-0.52),(1.347,-0.54),(1.34,-0.564),(1.34,-0.64),(1.345,-0.65),(1.35,-0.67),(1.35,-0.69),(1.347,-0.71),(1.34,-0.728),(1.34,-1.499)],
  [(1.499,1.4),(1.5,1.41),(1.5,1.417),(1.5,1.42),(1.501,1.43),(1.502,1.44),(1.502,1.45),(1.502,1.46),(1.501,1.47),(1.5,1.473),(1.499,1.475),(1.499,1.398)],
  [(1.499,0.63),(1.5,0.64),(1.5,0.74),(1.499,0.75),(1.499,0.92)],
  [(1.5,-0.531),(1.503,-0.52),(1.51,-0.507),(1.52,-0.499),(1.53,-0.497),(1.58,-0.501),(1.64,-0.501),(1.67,-0.499),(1.72,-0.5),(1.73,-0.49),(1.73,0.49),(1.72,0.5),(1.71,0.499),(1.61,0.5),(1.57,0.498),(1.53,0.494),(1.52,0.495),(1.508,0.5),(1.499,0.512),(1.499,-0.173),(1.502,-0.19),(1.499,-0.36),(1.499,-0.536)],
  [(1.499,-1.34),(1.499,-1.2),(1.5,-1.19),(1.5,-0.77),(1.499,-0.76),(1.499,-0.73),(1.5,-0.72),(1.5,-0.64),(1.499,-0.63),(1.499,-0.623)],
  [(1.5,-1.474),(1.501,-1.47),(1.503,-1.45),(1.5,-1.42),(1.5,-1.4),(1.499,-1.39),(1.499,-1.382),(1.499,-1.476)])

lib.write_gds('POLYGONS.gds')
